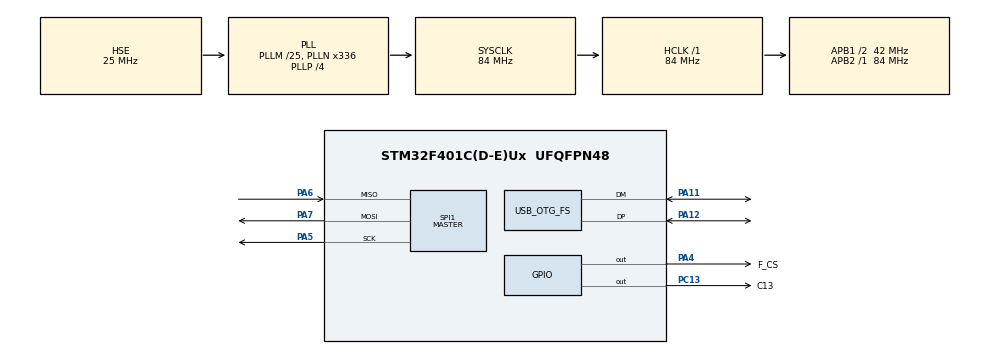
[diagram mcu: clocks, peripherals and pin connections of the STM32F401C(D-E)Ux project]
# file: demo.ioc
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FATFS._CODE_PAGE=850
FATFS._MAX_SS=4096
FATFS._MIN_SS=4096
FATFS._USE_LFN=2
Mcu.Family=STM32F4
Mcu.Name=STM32F401C(D-E)Ux
Mcu.Package=UFQFPN48
NVIC.OTG_FS_IRQn=true\:1\:0\:true\:false\:true\:false\:true\:true
NVIC.PriorityGroup=NVIC_PRIORITYGROUP_4
NVIC.RCC_IRQn=true\:0\:0\:true\:false\:true\:true\:false\:true
NVIC.SPI1_IRQn=true\:0\:0\:true\:false\:true\:true\:true\:true
PA11.Mode=Device_Only
PA11.Signal=USB_OTG_FS_DM
PA12.Mode=Device_Only
PA12.Signal=USB_OTG_FS_DP
PA13.Mode=Serial_Wire
PA13.Signal=SYS_JTMS-SWDIO
PA14.Mode=Serial_Wire
PA14.Signal=SYS_JTCK-SWCLK
PA4.GPIO_Label=F_CS
PA4.GPIO_Speed=GPIO_SPEED_FREQ_VERY_HIGH
PA4.PinState=GPIO_PIN_SET
PA4.Signal=GPIO_Output
PA5.Mode=Full_Duplex_Master
PA5.Signal=SPI1_SCK
PA6.Mode=Full_Duplex_Master
PA6.Signal=SPI1_MISO
PA7.Mode=Full_Duplex_Master
PA7.Signal=SPI1_MOSI
PC13-ANTI_TAMP.GPIO_Label=C13
PC13-ANTI_TAMP.PinState=GPIO_PIN_SET
PC13-ANTI_TAMP.Signal=GPIO_Output
PC14-OSC32_IN.Mode=LSE-External-Oscillator
PC14-OSC32_IN.Signal=RCC_OSC32_IN
PC15-OSC32_OUT.Mode=LSE-External-Oscillator
PC15-OSC32_OUT.Signal=RCC_OSC32_OUT
PH0\ -\ OSC_IN.Mode=HSE-External-Oscillator
PH0\ -\ OSC_IN.Signal=RCC_OSC_IN
PH1\ -\ OSC_OUT.Mode=HSE-External-Oscillator
PH1\ -\ OSC_OUT.Signal=RCC_OSC_OUT
ProjectManager.HeapSize=0x2000
ProjectManager.StackSize=0x400
ProjectManager.TargetToolchain=MDK-ARM V5.27
RCC.48MHZClocksFreq_Value=48000000
RCC.AHBFreq_Value=84000000
RCC.APB1CLKDivider=RCC_HCLK_DIV2
RCC.APB1Freq_Value=42000000
RCC.APB1TimFreq_Value=84000000
RCC.APB2Freq_Value=84000000
RCC.APB2TimFreq_Value=84000000
RCC.CortexFreq_Value=84000000
RCC.HCLKFreq_Value=84000000
RCC.HSE_VALUE=25000000
RCC.HSI_VALUE=16000000
RCC.PLLM=25
RCC.PLLN=336
RCC.PLLP=RCC_PLLP_DIV4
RCC.PLLQ=7
RCC.RCC_RTC_Clock_Source=RCC_RTCCLKSOURCE_LSE
RCC.RCC_RTC_Clock_SourceVirtual=RCC_RTCCLKSOURCE_LSE
RCC.SYSCLKFreq_VALUE=84000000
RCC.SYSCLKSource=RCC_SYSCLKSOURCE_PLLCLK
RCC.VCOOutputFreq_Value=336000000
RTC.Month=RTC_MONTH_APRIL
RTC.Year=19
SPI1.BaudRatePrescaler=SPI_BAUDRATEPRESCALER_2
SPI1.Direction=SPI_DIRECTION_2LINES
SPI1.Mode=SPI_MODE_MASTER
SPI1.VirtualType=VM_MASTER
USB_DEVICE.CLASS_NAME_FS=MSC
USB_DEVICE.MSC_MEDIA_PACKET=4096
USB_DEVICE.VirtualMode=Msc
USB_DEVICE.VirtualMode-MSC_FS=Msc
USB_DEVICE.VirtualModeFS=Msc_FS
USB_OTG_FS.VirtualMode=Device_Only
VP_FATFS_VS_Generic.Mode=User_defined
VP_RTC_VS_RTC_Activate.Mode=RTC_Enabled
VP_RTC_VS_RTC_Calendar.Mode=RTC_Calendar
VP_USB_DEVICE_VS_USB_DEVICE_MSC_FS.Mode=MSC_FS
board=custom

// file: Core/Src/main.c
/* USER CODE BEGIN Header */

/**
 ******************************************************************************
 * @file           : main.c
 * @brief          : Main program body
 ******************************************************************************
 * @attention
 *
 * <h2><center>&copy; Copyright (c) 2020 STMicroelectronics.
 * All rights reserved.</center></h2>
 *
 * This software component is licensed by ST under Ultimate Liberty license
 * SLA0044, the "License"; You may not use this file except in compliance with
 * the License. You may obtain a copy of the License at:
 *                             www.st.com/SLA0044
 *
 ******************************************************************************
 */
/* USER CODE END Header */
#include "main.h"
#include "fatfs.h"
#include "rtc.h"
#include "spi.h"
#include "usb_device.h"
#include "gpio.h"

void SystemClock_Config(void);

int main(void)
{

  /* MCU Configuration--------------------------------------------------------*/

  /* Reset of all peripherals, Initializes the Flash interface and the Systick. */
  HAL_Init();

  /* Configure the system clock */
  SystemClock_Config();

  /* Initialize all configured peripherals */
  MX_GPIO_Init();
  MX_SPI1_Init();
  MX_FATFS_Init();
  MX_USB_DEVICE_Init();
  MX_RTC_Init();

  /* Infinite loop */
    while (1)
    {

    /* USER CODE BEGIN 3 */
        static uint8_t  pwmset;
        static uint16_t time;
        static uint8_t  timeflag;
        static uint8_t  timecount;

        /* 呼吸�? */
        if (timeflag == 0)
        {
            time++;
            if (time >= 1600)
            {
                timeflag = 1;
            }
        }
        else
        {
            time--;
            if (time == 0)
            {
                timeflag = 0;
            }
        }

        /* 占空比设�? */
        pwmset = time / 80;

        /* 20ms 脉宽 */
        if (timecount > 20)
        {
            timecount = 0;
        }
        else
        {
            timecount++;
        }

        if (timecount >= pwmset)
        {
            HAL_GPIO_WritePin(C13_GPIO_Port, C13_Pin, GPIO_PIN_SET);
        }
        else
        {
            HAL_GPIO_WritePin(C13_GPIO_Port, C13_Pin, GPIO_PIN_RESET);
        }

        HAL_PWR_EnterSLEEPMode(PWR_MAINREGULATOR_ON, PWR_SLEEPENTRY_WFI);  // 1ms
    }
  /* USER CODE END 3 */
}

void SystemClock_Config(void)
{
  RCC_OscInitTypeDef RCC_OscInitStruct = {0};
  RCC_ClkInitTypeDef RCC_ClkInitStruct = {0};

  /** Configure the main internal regulator output voltage
  */
  __HAL_RCC_PWR_CLK_ENABLE();
  __HAL_PWR_VOLTAGESCALING_CONFIG(PWR_REGULATOR_VOLTAGE_SCALE2);

  /** Initializes the RCC Oscillators according to the specified parameters
  * in the RCC_OscInitTypeDef structure.
  */
  RCC_OscInitStruct.OscillatorType = RCC_OSCILLATORTYPE_HSE|RCC_OSCILLATORTYPE_LSE;
  RCC_OscInitStruct.HSEState = RCC_HSE_ON;
  RCC_OscInitStruct.LSEState = RCC_LSE_ON;
  RCC_OscInitStruct.PLL.PLLState = RCC_PLL_ON;
  RCC_OscInitStruct.PLL.PLLSource = RCC_PLLSOURCE_HSE;
  RCC_OscInitStruct.PLL.PLLM = 25;
  RCC_OscInitStruct.PLL.PLLN = 336;
  RCC_OscInitStruct.PLL.PLLP = RCC_PLLP_DIV4;
  RCC_OscInitStruct.PLL.PLLQ = 7;
  if (HAL_RCC_OscConfig(&RCC_OscInitStruct) != HAL_OK)
  {
    Error_Handler();
  }

  /** Initializes the CPU, AHB and APB buses clocks
  */
  RCC_ClkInitStruct.ClockType = RCC_CLOCKTYPE_HCLK|RCC_CLOCKTYPE_SYSCLK
                              |RCC_CLOCKTYPE_PCLK1|RCC_CLOCKTYPE_PCLK2;
  RCC_ClkInitStruct.SYSCLKSource = RCC_SYSCLKSOURCE_PLLCLK;
  RCC_ClkInitStruct.AHBCLKDivider = RCC_SYSCLK_DIV1;
  RCC_ClkInitStruct.APB1CLKDivider = RCC_HCLK_DIV2;
  RCC_ClkInitStruct.APB2CLKDivider = RCC_HCLK_DIV1;

  if (HAL_RCC_ClockConfig(&RCC_ClkInitStruct, FLASH_LATENCY_2) != HAL_OK)
  {
    Error_Handler();
  }
}

void Error_Handler(void)
{
}
